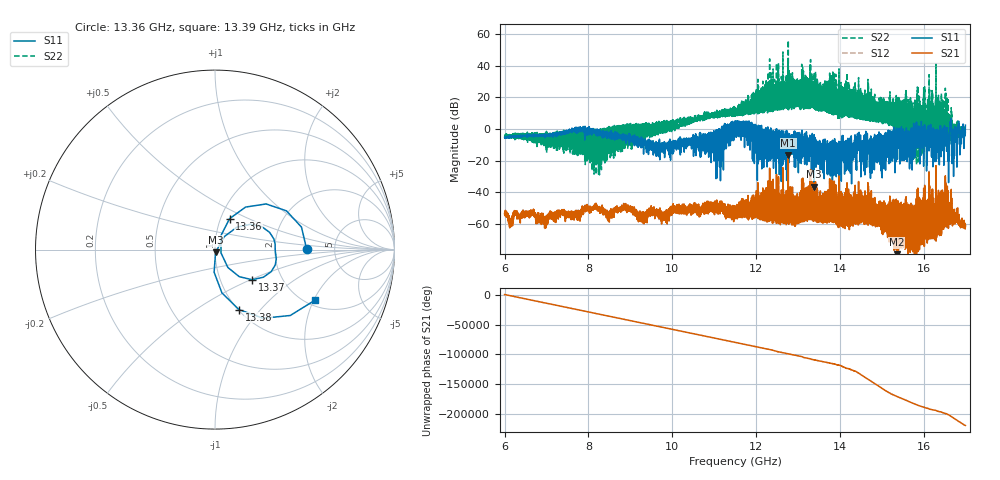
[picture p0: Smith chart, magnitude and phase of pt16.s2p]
#  HZ  S  RI  R  50.00
! Rohde & Schwarz Vector Network Analyzer
! Rohde-Schwarz,ZNA67-2Port,1332450062101215,3.01
! Created: UTC 10/15/2026, 2:19:10 PM
! freq[Hz]  re:S11  im:S11  re:S21  im:S21  re:S12  im:S12  re:S22  im:S22
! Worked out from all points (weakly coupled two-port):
!   11001 points, 6 GHz to 17 GHz, reference 50 ohm
!   highest |S21| = -16.40 dB at 12.77 GHz (marker M1); lowest = -81.5 dB at 15.37 GHz (marker M2)
!   lowest |S11| = -36.4 dB at 13.38 GHz (marker M3), VSWR 1.03, Z = 50.3 - j1.49 ohm
!   |S11| at or under -10 dB: 9.829053 GHz to 9.869897 GHz (40.84 MHz wide, 0.415 % of centre); 13.71988 GHz to 13.76967 GHz (49.79 MHz wide, 0.362 % of centre); 14.081 GHz to 14.12766 GHz (46.67 MHz wide, 0.331 % of centre) (the widest 3 of 484)
!   |S22| runs from -29.0 to 56.0 dB; largest |S21 - S12| = 0.0068
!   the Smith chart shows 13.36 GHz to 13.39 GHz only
!   S11 on the Smith chart (normalised r, x): 13.36 GHz: 3.09, +0.01; 13.36 GHz: 1.10, +0.39; 13.37 GHz: 1.41, -0.51; 13.38 GHz: 1.01, -0.77; 13.39 GHz: 2.22, -2.05
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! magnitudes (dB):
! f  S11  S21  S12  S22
! 6 GHz  -5.3  -53.3  -53.3  -4.7
! 6.143 GHz  -5.3  -59.2  -59.2  -4.0
! 6.654 GHz  -4.2  -51.6  -51.6  -8.9
! 6.977 GHz  -4.0  -60.5  -60.5  -5.4
! 7.834 GHz  -0.5  -54.4  -54.4  -8.1
! 9.667 GHz  -10.5  -53.9  -54.3  -1.1
! 11.05 GHz  -0.4  -47.1  -47.2  9.3
! 11.5 GHz  4.7  -54.5  -54.3  9.7
! 12.77 GHz  -7.1  -16.4  -16.2  56.0
! 13.33 GHz  -6.4  -52.4  -52.5  16.6
! 13.36 GHz  -5.8  -52.1  -51.6  18.3
! 13.36 GHz  -14.4  -43.3  -43.6  26.0
! 13.37 GHz  -11.5  -52.4  -52.5  19.4
! 13.38 GHz  -36.4  -56.4  -56.1  13.3
! 13.38 GHz  -8.9  -49.4  -49.9  20.8
! 13.39 GHz  -4.1  -55.3  -55.1  13.7
! 13.89 GHz  -8.0  -58.0  -57.7  11.0
! 15.17 GHz  -9.6  -60.6  -60.5  7.8
! 15.37 GHz  -10.1  -81.5  -81.2  -0.2
! 15.8 GHz  -1.7  -53.4  -53.1  9.0
! 16.57 GHz  0.5  -58.4  -58.8  -4.1
! 17 GHz  2.5  -61.4  -61.2  -0.4
